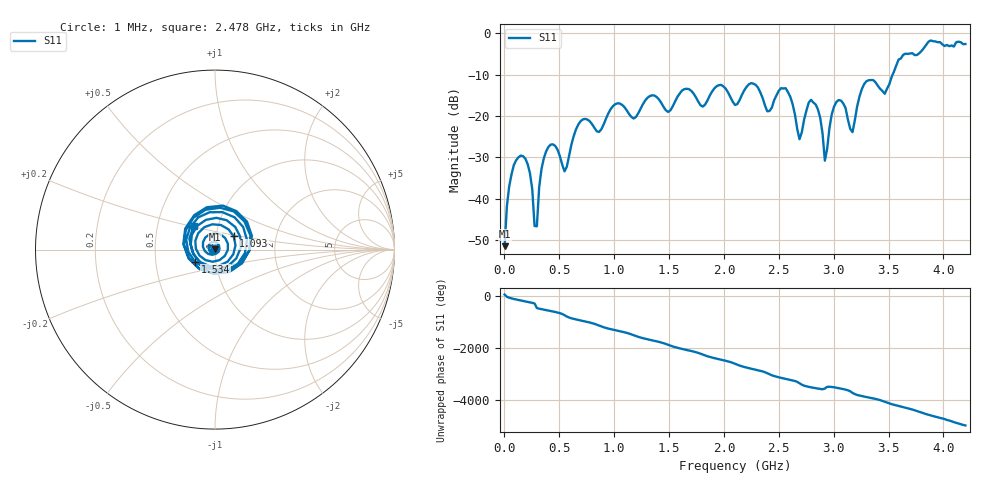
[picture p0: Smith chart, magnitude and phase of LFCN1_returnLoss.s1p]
# MHz S MA R 50
!  freq  S11
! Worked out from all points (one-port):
!   201 points, 1 MHz to 4.2 GHz, reference 50 ohm
!   lowest |S11| = -51.5 dB at 1 MHz (marker M1), VSWR 1.01, Z = 50.2 + j0.176 ohm
!   |S11| at or under -10 dB: start of sweep to 3.537 GHz
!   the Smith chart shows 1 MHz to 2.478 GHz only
!   S11 on the Smith chart (normalised r, x): 1 MHz: 1.00, +0.00; 1.093 GHz: 1.22, +0.18; 1.534 GHz: 0.79, -0.11; 2.478 GHz: 0.76, +0.21
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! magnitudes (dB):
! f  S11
! 1 MHz  -51.5
! 42.99 MHz  -37.0
! 106 MHz  -30.7
! 210.9 MHz  -31.7
! 294.9 MHz  -46.7
! 315.9 MHz  -37.3
! 378.9 MHz  -28.6
! 525.9 MHz  -31.8
! 693.8 MHz  -21.3
! 861.8 MHz  -23.9
! 1.051 GHz  -17.0
! 1.093 GHz  -17.9
! 1.534 GHz  -17.7
! 1.576 GHz  -15.4
! 1.975 GHz  -12.5
! 2.1 GHz  -17.4
! 2.247 GHz  -12.1
! 2.478 GHz  -15.1
! 2.625 GHz  -17.1
! 2.688 GHz  -25.7
! 2.835 GHz  -17.2
! 2.919 GHz  -30.8
! 3.024 GHz  -16.6
! 3.15 GHz  -23.1
! 3.297 GHz  -11.6
! 3.465 GHz  -14.7
! 3.675 GHz  -5.0
! 4.2 GHz  -2.6
